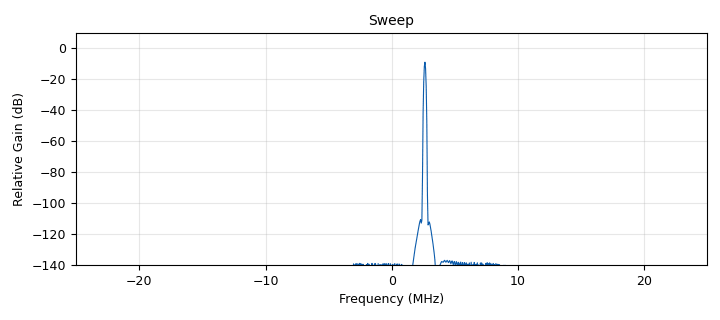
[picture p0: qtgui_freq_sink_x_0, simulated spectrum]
<?xml version='1.0' encoding='utf-8'?>
<?grc format='1' created='3.7.11'?>
<flow_graph>
<block>
<key>options</key>
<param><key>id</key><value>sweep_example</value></param>
<param><key>generate_options</key><value>qt_gui</value></param>
</block>
<block>
<key>variable</key>
<param><key>id</key><value>cent_freq</value></param>
<param><key>value</key><value> 2.465e9</value></param>
</block>
<block>
<key>variable</key>
<param><key>id</key><value>samp_rate</value></param>
<param><key>value</key><value>10.5e6</value></param>
</block>
<block>
<key>variable</key>
<param><key>id</key><value>sweep_rate</value></param>
<param><key>value</key><value>18e6</value></param>
</block>
<block>
<key>analog_sig_source_x</key>
<param><key>id</key><value>analog_sig_source_x_0</value></param>
<param><key>amp</key><value>20e6</value></param>
<param><key>freq</key><value>samp_rate/sweep_rate</value></param>
<param><key>offset</key><value>-10e6</value></param>
<param><key>type</key><value>float</value></param>
<param><key>samp_rate</key><value>samp_rate</value></param>
<param><key>waveform</key><value>analog.GR_SAW_WAVE</value></param>
</block>
<block>
<key>blocks_throttle</key>
<param><key>id</key><value>blocks_throttle_0</value></param>
<param><key>samples_per_second</key><value>samp_rate</value></param>
<param><key>type</key><value>complex</value></param>
</block>
<block>
<key>blocks_vco_c</key>
<param><key>id</key><value>blocks_vco_c_0</value></param>
<param><key>amplitude</key><value>1</value></param>
<param><key>samp_rate</key><value>samp_rate/2.5</value></param>
<param><key>sensitivity</key><value>6.282</value></param>
</block>
<block>
<key>parameter</key>
<param><key>id</key><value>gain</value></param>
<param><key>value</key><value>80</value></param>
</block>
<block>
<key>qtgui_freq_sink_x</key>
<param><key>id</key><value>qtgui_freq_sink_x_0</value></param>
<param><key>bw</key><value>50e6</value></param>
<param><key>fc</key><value>0</value></param>
<param><key>fftsize</key><value>1024</value></param>
<param><key>name</key><value>"Sweep"</value></param>
<param><key>showports</key><value>True</value></param>
<param><key>type</key><value>complex</value></param>
<param><key>wintype</key><value>firdes.WIN_BLACKMAN_hARRIS</value></param>
</block>
<block>
<key>uhd_usrp_sink</key>
<param><key>id</key><value>uhd_usrp_sink_0</value></param>
<param><key>ant0</key><value>TX/RX</value></param>
<param><key>center_freq0</key><value>cent_freq</value></param>
<param><key>norm_gain0</key><value>False</value></param>
<param><key>gain0</key><value>gain</value></param>
<param><key>clock_rate</key><value>0.0</value></param>
<param><key>dev_args</key><value>""</value></param>
<param><key>type</key><value>fc32</value></param>
<param><key>samp_rate</key><value>samp_rate</value></param>
<param><key>hide_cmd_port</key><value>False</value></param>
<param><key>hide_lo_controls</key><value>True</value></param>
<param><key>sync</key><value></value></param>
<param><key>len_tag_name</key><value></value></param>
</block>
<connection><source_block_id>analog_sig_source_x_0</source_block_id><sink_block_id>blocks_vco_c_0</sink_block_id><source_key>0</source_key><sink_key>0</sink_key></connection>
<connection><source_block_id>blocks_throttle_0</source_block_id><sink_block_id>qtgui_freq_sink_x_0</sink_block_id><source_key>0</source_key><sink_key>0</sink_key></connection>
<connection><source_block_id>blocks_throttle_0</source_block_id><sink_block_id>uhd_usrp_sink_0</sink_block_id><source_key>0</source_key><sink_key>0</sink_key></connection>
<connection><source_block_id>blocks_vco_c_0</source_block_id><sink_block_id>blocks_throttle_0</sink_block_id><source_key>0</source_key><sink_key>0</sink_key></connection>
</flow_graph>
